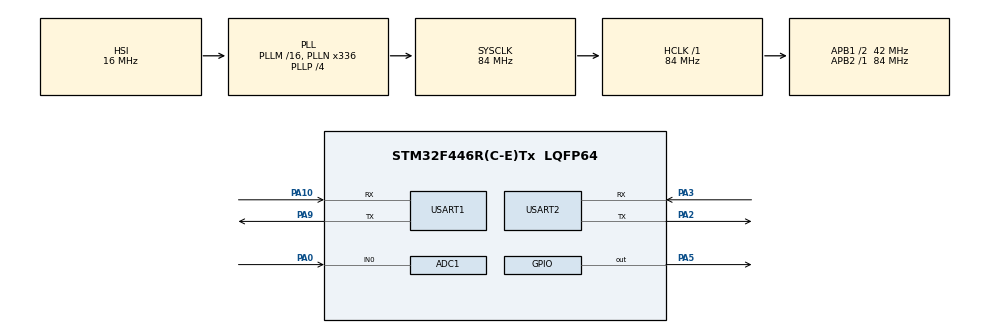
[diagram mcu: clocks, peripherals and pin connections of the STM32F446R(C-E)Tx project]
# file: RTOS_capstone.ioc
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ADC1.Channel-1\#ChannelRegularConversion=ADC_CHANNEL_0
ADC1.NbrOfConversionFlag=1
ADC1.Rank-1\#ChannelRegularConversion=1
ADC1.SamplingTime-1\#ChannelRegularConversion=ADC_SAMPLETIME_3CYCLES
ADC1.master=1
FREERTOS.Queues01=sensorDataQueue,4,SensorPayload_t,0,Dynamic,NULL,NULL
FREERTOS.Tasks01=Sensor_Task,24,128,StartSensor_Task,Default,NULL,Dynamic,NULL,NULL;tx_task,8,128,Starttx_task,Default,NULL,Dynamic,NULL,NULL
FREERTOS.configUSE_NEWLIB_REENTRANT=1
Mcu.Family=STM32F4
Mcu.Name=STM32F446R(C-E)Tx
Mcu.Package=LQFP64
NVIC.PriorityGroup=NVIC_PRIORITYGROUP_4
NVIC.TIM6_DAC_IRQn=true\:15\:0\:false\:false\:true\:false\:false\:true\:true
NVIC.TimeBase=TIM6_DAC_IRQn
NVIC.TimeBaseIP=TIM6
PA0-WKUP.Signal=ADCx_IN0
PA10.Mode=Asynchronous
PA10.Signal=USART1_RX
PA13.Mode=Serial_Wire
PA13.Signal=SYS_JTMS-SWDIO
PA14.Mode=Serial_Wire
PA14.Signal=SYS_JTCK-SWCLK
PA2.Mode=Asynchronous
PA2.Signal=USART2_TX
PA3.Mode=Asynchronous
PA3.Signal=USART2_RX
PA5.Signal=GPIO_Output
PA5.TagName=LD1
PA9.Mode=Asynchronous
PA9.Signal=USART1_TX
PC13.TagName=BUTTON
ProjectManager.HeapSize=0x200
ProjectManager.StackSize=0x400
ProjectManager.TargetToolchain=STM32CubeIDE
RCC.AHBFreq_Value=84000000
RCC.APB1CLKDivider=RCC_HCLK_DIV2
RCC.APB1Freq_Value=42000000
RCC.APB1TimFreq_Value=84000000
RCC.APB2Freq_Value=84000000
RCC.APB2TimFreq_Value=84000000
RCC.CortexFreq_Value=84000000
RCC.FLatency-AdvancedSettings=FLASH_LATENCY_2
RCC.HCLKFreq_Value=84000000
RCC.HSE_VALUE=8000000
RCC.HSI_VALUE=16000000
RCC.LSE_VALUE=32768
RCC.PLLN=336
RCC.PLLP=RCC_PLLP_DIV4
RCC.SYSCLKFreq_VALUE=84000000
RCC.SYSCLKSource=RCC_SYSCLKSOURCE_PLLCLK
RCC.USBFreq_Value=168000000
RCC.VCOOutputFreq_Value=336000000
SH.ADCx_IN0.0=ADC1_IN0,IN0
USART1.VirtualMode=VM_ASYNC
USART2.VirtualMode=VM_ASYNC
VP_FREERTOS_VS_CMSIS_V2.Mode=CMSIS_V2
VP_SYS_VS_tim6.Mode=TIM6
VP_TIM7_VS_ClockSourceINT.Mode=Enable_Timer
board=NUCLEO-F446RE

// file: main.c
/* USER CODE BEGIN Header */
/**
  ******************************************************************************
  * @file           : main.c
  * @brief          : Main program body
  ******************************************************************************
  * @attention
  *
  * Copyright (c) 2026 STMicroelectronics.
  * All rights reserved.
  *
  * This software is licensed under terms that can be found in the LICENSE file
  * in the root directory of this software component.
  * If no LICENSE file comes with this software, it is provided AS-IS.
  *
  ******************************************************************************
  */
/* USER CODE END Header */
#include "main.h"
#include "cmsis_os.h"

/* USER CODE BEGIN Includes */
#include "DHT11.h"
#include <stdio.h>
#include <string.h>

/* USER CODE END Includes */

ADC_HandleTypeDef hadc1;

TIM_HandleTypeDef htim7;

UART_HandleTypeDef huart1;
UART_HandleTypeDef huart2;

/* Definitions for Sensor_Task */
osThreadId_t Sensor_TaskHandle;
const osThreadAttr_t Sensor_Task_attributes = {
  .name = "Sensor_Task",
  .stack_size = 128 * 4,
  .priority = (osPriority_t) osPriorityNormal,
};
/* Definitions for tx_task */
osThreadId_t tx_taskHandle;
const osThreadAttr_t tx_task_attributes = {
  .name = "tx_task",
  .stack_size = 128 * 4,
  .priority = (osPriority_t) osPriorityLow,
};
/* Definitions for sensorDataQueue */
osMessageQueueId_t sensorDataQueueHandle;
const osMessageQueueAttr_t sensorDataQueue_attributes = {
  .name = "sensorDataQueue"
};
/* USER CODE BEGIN PV */
DHT11_HandleTypeDef hdht11;
/* USER CODE END PV */

void SystemClock_Config(void);
static void MX_GPIO_Init(void);
static void MX_ADC1_Init(void);
static void MX_USART1_UART_Init(void);
static void MX_USART2_UART_Init(void);
static void MX_TIM7_Init(void);
void StartSensor_Task(void *argument);
void Starttx_task(void *argument);

/* USER CODE BEGIN PFP */
void StartSensorTask(void *argument);
void StartTxTask(void *argument);
/* USER CODE END PFP */

int main(void)
{

  /* MCU Configuration--------------------------------------------------------*/

  /* Reset of all peripherals, Initializes the Flash interface and the Systick. */
  HAL_Init();

  /* Configure the system clock */
  SystemClock_Config();

  /* Initialize all configured peripherals */
  MX_GPIO_Init();
  MX_ADC1_Init();
  MX_USART1_UART_Init();
  MX_USART2_UART_Init();
  MX_TIM7_Init();
  /* USER CODE BEGIN 2 */
  // Initialize the custom DHT11 driver using TIM7 and PA1
    DHT11_Init(&hdht11, &htim7, GPIOA, GPIO_PIN_1);

    // Send startup heartbeat over USART2
    char startup_msg[] = "\r\n--- STM32 FreeRTOS Telemetry System Starting ---\r\n";
    HAL_UART_Transmit(&huart2, (uint8_t*)startup_msg, strlen(startup_msg), 100);

    // Create RTOS Queues and Tasks (if not auto-generated)
    //sensorDataQueueHandle = osMessageQueueNew(4, sizeof(SensorPayload_t), &sensorDataQueue_attributes);
    //sensorTaskHandle = osThreadNew(StartSensorTask, NULL, &sensorTask_attributes);
    //txTaskHandle = osThreadNew(StartTxTask, NULL, &txTask_attributes);
  /* USER CODE END 2 */

  /* Init scheduler */
  osKernelInitialize();

  /* Create the queue(s) */
  /* creation of sensorDataQueue */
  sensorDataQueueHandle = osMessageQueueNew (4, sizeof(SensorPayload_t), &sensorDataQueue_attributes);

  /* Create the thread(s) */
  /* creation of Sensor_Task */
  Sensor_TaskHandle = osThreadNew(StartSensor_Task, NULL, &Sensor_Task_attributes);

  /* creation of tx_task */
  tx_taskHandle = osThreadNew(Starttx_task, NULL, &tx_task_attributes);

  /* Start scheduler */
  osKernelStart();

  /* We should never get here as control is now taken by the scheduler */

  /* Infinite loop */
  while (1)
  {

  }
}

void SystemClock_Config(void)
{
  RCC_OscInitTypeDef RCC_OscInitStruct = {0};
  RCC_ClkInitTypeDef RCC_ClkInitStruct = {0};

  /** Configure the main internal regulator output voltage
  */
  __HAL_RCC_PWR_CLK_ENABLE();
  __HAL_PWR_VOLTAGESCALING_CONFIG(PWR_REGULATOR_VOLTAGE_SCALE3);

  /** Initializes the RCC Oscillators according to the specified parameters
  * in the RCC_OscInitTypeDef structure.
  */
  RCC_OscInitStruct.OscillatorType = RCC_OSCILLATORTYPE_HSI;
  RCC_OscInitStruct.HSIState = RCC_HSI_ON;
  RCC_OscInitStruct.HSICalibrationValue = RCC_HSICALIBRATION_DEFAULT;
  RCC_OscInitStruct.PLL.PLLState = RCC_PLL_ON;
  RCC_OscInitStruct.PLL.PLLSource = RCC_PLLSOURCE_HSI;
  RCC_OscInitStruct.PLL.PLLM = 16;
  RCC_OscInitStruct.PLL.PLLN = 336;
  RCC_OscInitStruct.PLL.PLLP = RCC_PLLP_DIV4;
  RCC_OscInitStruct.PLL.PLLQ = 2;
  RCC_OscInitStruct.PLL.PLLR = 2;
  if (HAL_RCC_OscConfig(&RCC_OscInitStruct) != HAL_OK)
  {
    Error_Handler();
  }

  /** Initializes the CPU, AHB and APB buses clocks
  */
  RCC_ClkInitStruct.ClockType = RCC_CLOCKTYPE_HCLK|RCC_CLOCKTYPE_SYSCLK
                              |RCC_CLOCKTYPE_PCLK1|RCC_CLOCKTYPE_PCLK2;
  RCC_ClkInitStruct.SYSCLKSource = RCC_SYSCLKSOURCE_PLLCLK;
  RCC_ClkInitStruct.AHBCLKDivider = RCC_SYSCLK_DIV1;
  RCC_ClkInitStruct.APB1CLKDivider = RCC_HCLK_DIV2;
  RCC_ClkInitStruct.APB2CLKDivider = RCC_HCLK_DIV1;

  if (HAL_RCC_ClockConfig(&RCC_ClkInitStruct, FLASH_LATENCY_2) != HAL_OK)
  {
    Error_Handler();
  }
}

static void MX_ADC1_Init(void)
{

  ADC_ChannelConfTypeDef sConfig = {0};

  /** Configure the global features of the ADC (Clock, Resolution, Data Alignment and number of conversion)
  */
  hadc1.Instance = ADC1;
  hadc1.Init.ClockPrescaler = ADC_CLOCK_SYNC_PCLK_DIV4;
  hadc1.Init.Resolution = ADC_RESOLUTION_12B;
  hadc1.Init.ScanConvMode = DISABLE;
  hadc1.Init.ContinuousConvMode = DISABLE;
  hadc1.Init.DiscontinuousConvMode = DISABLE;
  hadc1.Init.ExternalTrigConvEdge = ADC_EXTERNALTRIGCONVEDGE_NONE;
  hadc1.Init.ExternalTrigConv = ADC_SOFTWARE_START;
  hadc1.Init.DataAlign = ADC_DATAALIGN_RIGHT;
  hadc1.Init.NbrOfConversion = 1;
  hadc1.Init.DMAContinuousRequests = DISABLE;
  hadc1.Init.EOCSelection = ADC_EOC_SINGLE_CONV;
  if (HAL_ADC_Init(&hadc1) != HAL_OK)
  {
    Error_Handler();
  }

  /** Configure for the selected ADC regular channel its corresponding rank in the sequencer and its sample time.
  */
  sConfig.Channel = ADC_CHANNEL_0;
  sConfig.Rank = 1;
  sConfig.SamplingTime = ADC_SAMPLETIME_3CYCLES;
  if (HAL_ADC_ConfigChannel(&hadc1, &sConfig) != HAL_OK)
  {
    Error_Handler();
  }

}

static void MX_TIM7_Init(void)
{

	TIM_MasterConfigTypeDef sMasterConfig = {0};

	  htim7.Instance = TIM7;
	  htim7.Init.Prescaler = 83; // <-- CHANGE THIS FROM 0 TO 83 (84MHz / 84 = 1MHz = 1 microsecond per tick)
	  htim7.Init.CounterMode = TIM_COUNTERMODE_UP;
	  htim7.Init.Period = 65535;
	  htim7.Init.AutoReloadPreload = TIM_AUTORELOAD_PRELOAD_DISABLE;
	  if (HAL_TIM_Base_Init(&htim7) != HAL_OK)
	  {
	    Error_Handler();
	  }
	  sMasterConfig.MasterOutputTrigger = TIM_TRGO_RESET;
	  sMasterConfig.MasterSlaveMode = TIM_MASTERSLAVEMODE_DISABLE;
	  if (HAL_TIMEx_MasterConfigSynchronization(&htim7, &sMasterConfig) != HAL_OK)
	  {
	    Error_Handler();
	  }

}

static void MX_USART1_UART_Init(void)
{

  huart1.Instance = USART1;
  huart1.Init.BaudRate = 115200;
  huart1.Init.WordLength = UART_WORDLENGTH_8B;
  huart1.Init.StopBits = UART_STOPBITS_1;
  huart1.Init.Parity = UART_PARITY_NONE;
  huart1.Init.Mode = UART_MODE_TX_RX;
  huart1.Init.HwFlowCtl = UART_HWCONTROL_NONE;
  huart1.Init.OverSampling = UART_OVERSAMPLING_16;
  if (HAL_UART_Init(&huart1) != HAL_OK)
  {
    Error_Handler();
  }

}

static void MX_USART2_UART_Init(void)
{

  huart2.Instance = USART2;
  huart2.Init.BaudRate = 115200;
  huart2.Init.WordLength = UART_WORDLENGTH_8B;
  huart2.Init.StopBits = UART_STOPBITS_1;
  huart2.Init.Parity = UART_PARITY_NONE;
  huart2.Init.Mode = UART_MODE_TX_RX;
  huart2.Init.HwFlowCtl = UART_HWCONTROL_NONE;
  huart2.Init.OverSampling = UART_OVERSAMPLING_16;
  if (HAL_UART_Init(&huart2) != HAL_OK)
  {
    Error_Handler();
  }

}

static void MX_GPIO_Init(void)
{
  GPIO_InitTypeDef GPIO_InitStruct = {0};

  /* GPIO Ports Clock Enable */
  __HAL_RCC_GPIOA_CLK_ENABLE();

  /*Configure GPIO pin Output Level */
  HAL_GPIO_WritePin(GPIOA, GPIO_PIN_5, GPIO_PIN_RESET);

  /*Configure GPIO pin : PA5 */
  GPIO_InitStruct.Pin = GPIO_PIN_5;
  GPIO_InitStruct.Mode = GPIO_MODE_OUTPUT_PP;
  GPIO_InitStruct.Pull = GPIO_NOPULL;
  GPIO_InitStruct.Speed = GPIO_SPEED_FREQ_LOW;
  HAL_GPIO_Init(GPIOA, &GPIO_InitStruct);

}

void StartSensor_Task(void *argument)
{
  /* USER CODE BEGIN 5 */
  /* Infinite loop */
	SensorPayload_t payload;
	  int temp = 0;
	  int hum = 0;
  for(;;)
  {
	  HAL_GPIO_TogglePin(GPIOA, GPIO_PIN_5);

	      // 1. Read MQ135 (ADC1)
	      HAL_ADC_Start(&hadc1);
	      if (HAL_ADC_PollForConversion(&hadc1, 100) == HAL_OK) {
	          payload.adc_air = HAL_ADC_GetValue(&hadc1);
	      } else {
	          payload.adc_air = 0;
	      }
	      HAL_ADC_Stop(&hadc1);

	      // 2. Read DHT11
	      int status = DHT11_readTemperatureHumidity(&hdht11, &temp, &hum);

	      if (status == DHT11_SUCCESS) {
	          payload.temperature = temp;
	          payload.humidity = hum;
	          payload.dht_valid = 1;
	      } else {
	          payload.temperature = 0;
	          payload.humidity = 0;
	          payload.dht_valid = 0;
	      }

	      // 3. Send to Queue (Matching your .ioc generated handle)
	      osMessageQueuePut(sensorDataQueueHandle, &payload, 0U, 100);

	      osDelay(2000);
  }
  /* USER CODE END 5 */
}

void Starttx_task(void *argument)
{
  /* USER CODE BEGIN Starttx_task */
  /* Infinite loop */
	SensorPayload_t rx_payload;
	  char tx_buffer[128];
	  osStatus_t status;
  for(;;)
  {
	  // Wait for data from queue
	  status = osMessageQueueGet(sensorDataQueueHandle, &rx_payload, NULL, osWaitForever);

	      if (status == osOK)
	      {
	        if (rx_payload.dht_valid == 1) {
	            snprintf(tx_buffer, sizeof(tx_buffer), "TEMP:%d,HUM:%d,AIR:%lu\r\n",
	                     rx_payload.temperature, rx_payload.humidity, rx_payload.adc_air);
	        } else {
	            snprintf(tx_buffer, sizeof(tx_buffer), "TEMP:ERR,HUM:ERR,AIR:%lu\r\n",
	                     rx_payload.adc_air);
	        }

	        // Send to ESP32 (USART1) it is sending data to usart 1 to another device
	        HAL_UART_Transmit(&huart1, (uint8_t*)tx_buffer, strlen(tx_buffer), 200);

	        // Send to Debug PC (USART2) it is sending data usart2 to pc
	        HAL_UART_Transmit(&huart2, (uint8_t*)tx_buffer, strlen(tx_buffer), 200);
	      }
  }
  /* USER CODE END Starttx_task */
}

void HAL_TIM_PeriodElapsedCallback(TIM_HandleTypeDef *htim)
{
  if (htim->Instance == TIM6)
  {
    HAL_IncTick();
  }
}

void Error_Handler(void)
{
  __disable_irq();
  while (1)
  {
  }
}
